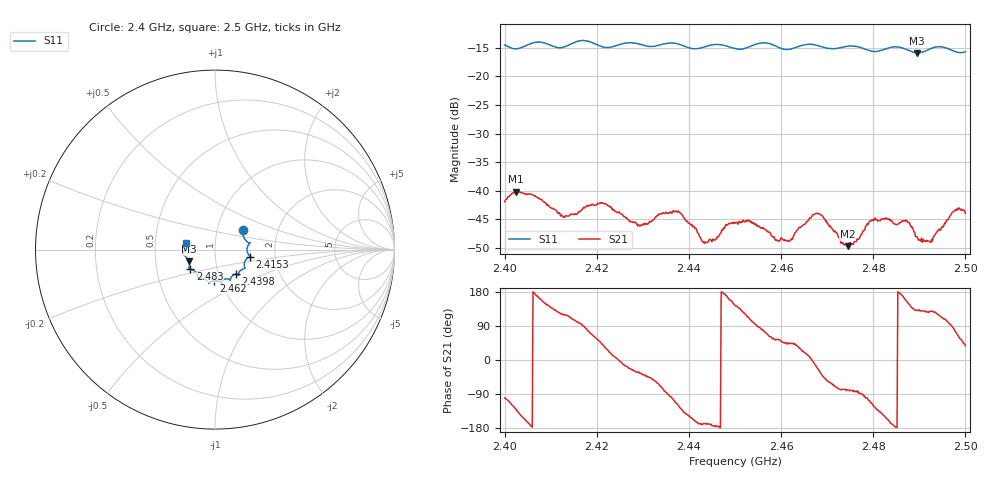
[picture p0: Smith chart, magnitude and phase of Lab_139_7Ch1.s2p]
# Hz S RI R 50
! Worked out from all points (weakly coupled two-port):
!   601 points, 2.4 GHz to 2.5 GHz, reference 50 ohm
!   highest |S21| = -40.15 dB at 2.4025 GHz (marker M1); lowest = -49.7 dB at 2.4745 GHz (marker M2)
!   lowest |S11| = -15.9 dB at 2.4895 GHz (marker M3), VSWR 1.38, Z = 36.9 - j5.01 ohm
!   |S11| at or under -10 dB: start of sweep to end of sweep
!   S12 and S22 are empty: the file has one direction only
!   S11 on the Smith chart (normalised r, x): 2.4 GHz: 1.33, +0.29; 2.4153 GHz: 1.48, -0.12; 2.4398 GHz: 1.21, -0.34; 2.462 GHz: 0.93, -0.33; 2.483 GHz: 0.74, -0.17; 2.5 GHz: 0.72, +0.06
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2.4e9  0.1556 0.1065  -0.00143 -0.00789  0 0  0 0
2.4025e9  0.1613 0.0664  -0.00636 -0.0075  0 0  0 0
2.415333e9  0.1959 -0.0386  -0.00147 0.00614  0 0  0 0
2.416667e9  0.2016 -0.0426  -0.000575 0.00675  0 0  0 0
2.421667e9  0.1697 -0.06  0.00625 0.00447  0 0  0 0
2.429333e9  0.1589 -0.1067  0.00402 -0.00279  0 0  0 0
2.433333e9  0.1312 -0.1335  0.00286 -0.00539  0 0  0 0
2.439833e9  0.1154 -0.1365  -0.00432 -0.00297  0 0  0 0
2.443667e9  0.0871 -0.1609  -0.00344 -0.000765  0 0  0 0
2.45e9  0.0648 -0.1629  -0.00427 0.00303  0 0  0 0
2.462e9  -0.00504 -0.1731  0.00263 0.00254  0 0  0 0
2.466667e9  -0.0344 -0.1876  0.00597 5.02e-05  0 0  0 0
2.468667e9  -0.0384 -0.1784  0.00498 -0.00362  0 0  0 0
2.4745e9  -0.0902 -0.1604  0.000634 -0.00322  0 0  0 0
2.4795e9  -0.1062 -0.1287  -0.00219 -0.00497  0 0  0 0
2.483e9  -0.1374 -0.1098  -0.00518 -0.00231  0 0  0 0
2.483333e9  -0.14 -0.1095  -0.00527 -0.0019  0 0  0 0
2.487333e9  -0.143 -0.094  -0.00488 0.00246  0 0  0 0
2.4895e9  -0.1463 -0.0661  -0.00264 0.00296  0 0  0 0
2.492333e9  -0.171 -0.0323  -0.00223 0.00278  0 0  0 0
2.4975e9  -0.1665 -0.000981  0.000905 0.00655  0 0  0 0
2.5e9  -0.1599 0.0389  0.00502 0.00389  0 0  0 0
